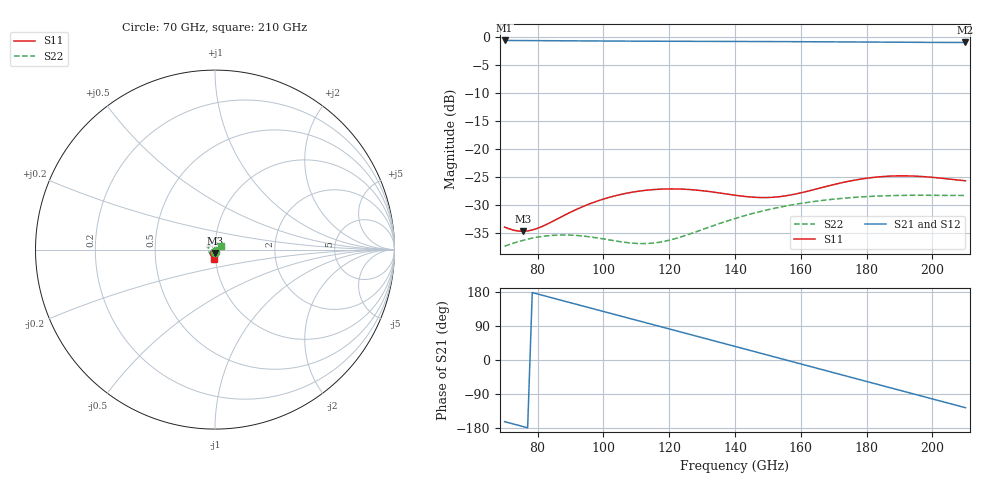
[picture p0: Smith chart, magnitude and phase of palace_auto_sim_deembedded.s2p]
! Created with skrf 1.11.0 (http://scikit-rf.org).
# GHz S DB R 50.0
!freq dBS11 angS11 dBS21 angS21 dBS12 angS12 dBS22 angS22
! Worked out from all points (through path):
!   101 points, 70 GHz to 210 GHz, reference 50 ohm
!   highest |S21| = -0.61 dB at 70 GHz (marker M1); lowest = -1.0 dB at 210 GHz (marker M2)
!   group delay of S21, straight-line fit = 6.41 ps
!   lowest |S11| = -34.7 dB at 75.6 GHz (marker M3), VSWR 1.04, Z = 49.8 - j1.81 ohm
!   |S11| at or under -10 dB: start of sweep to end of sweep
!   |S22| runs from -37.4 to -28.3 dB; largest |S21 - S12| = 1.6e-13
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70  -33.99 -109.4  -0.61 -162.7  -0.61 -162.7  -37.40 -79.5
75.6  -34.74 -95.9  -0.63 -175.6  -0.63 -175.6  -36.35 -87.9
84  -33.14 -78.0  -0.66 165.0  -0.66 165.0  -35.49 -109.5
93.8  -30.32 -74.6  -0.69 142.4  -0.69 142.4  -35.59 -144.2
100.8  -28.84 -78.2  -0.71 126.3  -0.71 126.3  -36.18 -175.2
106.4  -28.01 -82.5  -0.73 113.4  -0.73 113.4  -36.70 156.0
112  -27.47 -87.2  -0.74 100.5  -0.74 100.5  -36.94 123.9
117.6  -27.20 -91.9  -0.75 87.6  -0.75 87.6  -36.64 90.5
123.2  -27.18 -96.2  -0.76 74.7  -0.76 74.7  -35.82 58.0
128.8  -27.40 -99.5  -0.77 61.8  -0.77 61.8  -34.70 28.1
140  -28.29 -100.6  -0.79 35.9  -0.79 35.9  -32.46 -25.3
147  -28.69 -96.5  -0.80 19.7  -0.80 19.7  -31.31 -56.0
152.6  -28.61 -91.5  -0.81 6.7  -0.81 6.7  -30.55 -80.0
158.2  -28.10 -87.0  -0.83 -6.2  -0.83 -6.2  -29.93 -103.6
163.8  -27.31 -84.5  -0.84 -19.2  -0.84 -19.2  -29.43 -127.2
169.4  -26.47 -84.2  -0.86 -32.2  -0.86 -32.2  -29.03 -150.8
176.4  -25.59 -86.3  -0.88 -48.3  -0.88 -48.3  -28.67 179.5
187.6  -24.86 -92.5  -0.92 -74.2  -0.92 -74.2  -28.36 131.0
193.2  -24.85 -95.6  -0.93 -87.1  -0.93 -87.1  -28.31 106.1
198.8  -25.03 -97.8  -0.95 -100.0  -0.95 -100.0  -28.30 80.6
204.4  -25.35 -98.7  -0.96 -112.9  -0.96 -112.9  -28.32 54.4
210  -25.71 -97.8  -0.97 -125.8  -0.97 -125.8  -28.32 27.4
